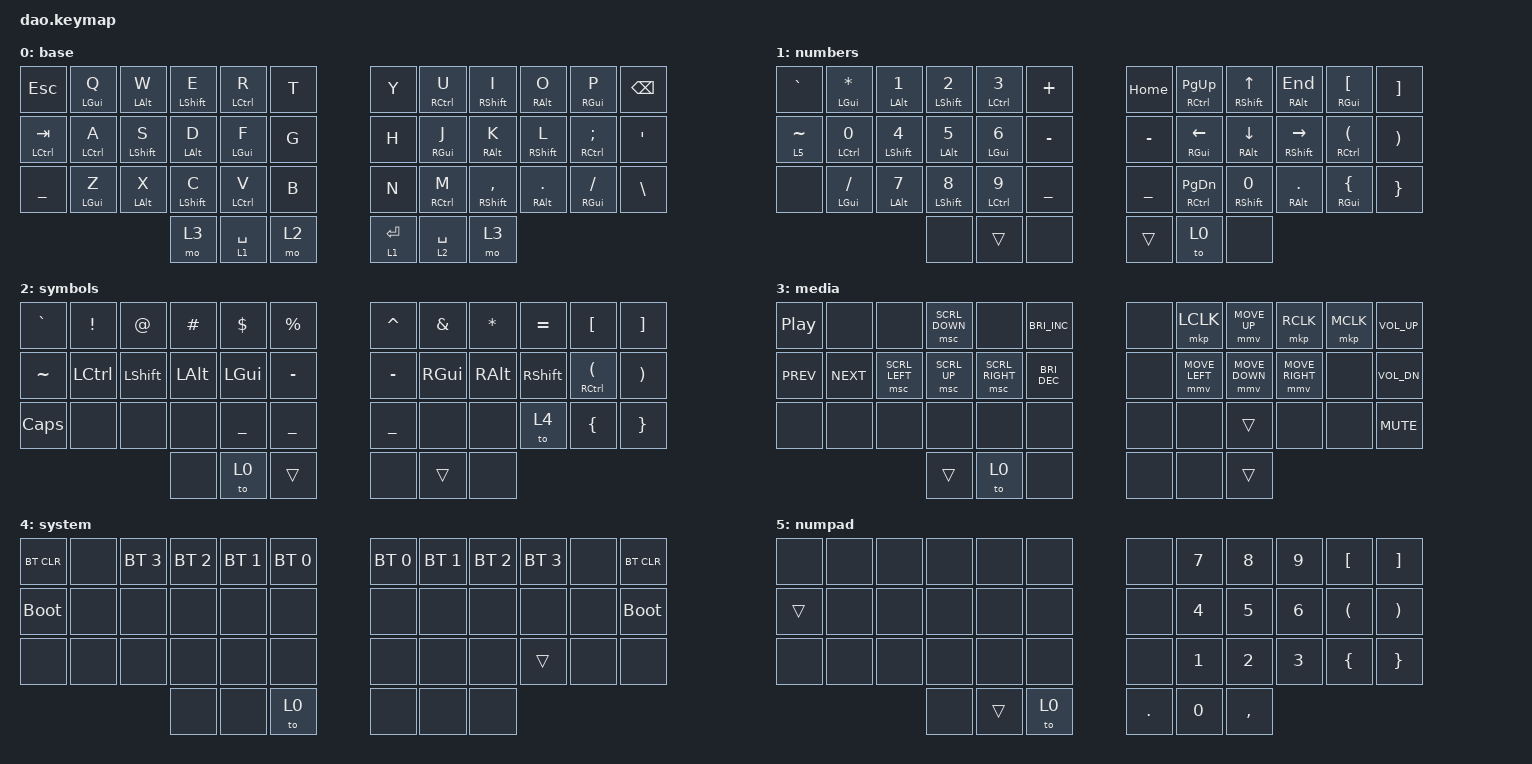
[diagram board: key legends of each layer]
/*
 * Copyright (c) 2021 Rafael Yumagulov
 *
 * SPDX-License-Identifier: MIT
 */

#define ZMK_POINTING_DEFAULT_MOVE_VAL 1200  // Default is 600
#define ZMK_POINTING_DEFAULT_SCRL_VAL 13   // Default is 10

#include <behaviors.dtsi>
#include <dt-bindings/zmk/keys.h>
#include <dt-bindings/zmk/bt.h>
#include <dt-bindings/zmk/pointing.h>

#define BASE 0
#define NUM 1
#define SYM 2
#define MEDIA 3
#define SYS 4
#define PAD 5

&lt {
  quick_tap_ms = <200>;
  tapping-term-ms = <200>;
  flavor = "balanced";
};
&mt {
  quick_tap_ms = <200>;
  tapping-term-ms = <150>;
  flavor = "balanced";
};

/ {
    chosen {
        zmk,matrix_transform = &default_transform;
        // zmk,matrix_transform = &extra_keys_transform;
    };
};

/ {
        keymap {
                compatible = "zmk,keymap";

                base {
                        bindings = <
    // | ------------- | -------------- | -------------- | -------------- | --------------- | ------------- | --- | ------------ | --------------- | --------------- | --------------- | -------------- | ------------ |
         &kp ESC         &mt LGUI Q       &mt LALT W       &mt LSHFT E      &mt LCTRL R       &kp T                 &kp Y          &mt RCTRL U       &mt RSHFT I       &mt RALT O        &mt RGUI P       &kp BSPC      
    // | ------------- | -------------- | -------------- | -------------- | --------------- | ------------- | --- | ------------ | --------------- | --------------- | --------------- | -------------- | ------------ |
         &mt LCTRL TAB   &mt LCTRL A      &mt LSHFT S      &mt LALT D       &mt LGUI F        &kp G                 &kp H          &mt RGUI J        &mt RALT K        &mt RSHFT L       &mt RCTRL SEMI   &kp APOS      
    // | ------------- | -------------- | -------------- | -------------- | --------------- | ------------- | --- | ------------ | --------------- | --------------- | --------------- | -------------- | ------------ |
         &kp UNDER       &mt LGUI Z       &mt LALT X       &mt LSHFT C      &mt LCTRL V       &kp B                 &kp N          &mt RCTRL M       &mt RSHFT COMMA   &mt RALT DOT      &mt RGUI FSLH    &kp BSLH      
    // | ------------- | -------------- | -------------- | -------------- | --------------- | ------------- | --- | ------------ | --------------- | --------------- | --------------- | -------------- | ------------ |
                                                           &mo 3            &lt 1 SPACE       &mo 2                 &lt 1 RET      &lt 2 SPACE       &mo 3                                                              
                        >;
                };
                numbers {
                        bindings = <
    // | ------------- | -------------- | -------------- | -------------- | --------------- | ------------- | --- | ------------ | --------------- | --------------- | --------------- | -------------- | ------------ |
         &kp GRAVE       &mt LGUI ASTRK   &mt LALT N1      &mt LSHFT N2     &mt LCTRL N3      &kp PLUS              &kp HOME       &mt RCTRL PG_UP   &mt RSHFT UP      &mt RALT END      &mt RGUI LBKT    &kp RBKT      
    // | ------------- | -------------- | -------------- | -------------- | --------------- | ------------- | --- | ------------ | --------------- | --------------- | --------------- | -------------- | ------------ |
         &lt 5 TILDE     &mt LCTRL N0     &mt LSHFT N4     &mt LALT N5      &mt LGUI N6       &kp MINUS             &kp MINUS      &mt RGUI LEFT     &mt RALT DOWN     &mt RSHFT RIGHT   &mt RCTRL LPAR   &kp RPAR      
    // | ------------- | -------------- | -------------- | -------------- | --------------- | ------------- | --- | ------------ | --------------- | --------------- | --------------- | -------------- | ------------ |
         &none           &mt LGUI FSLH    &mt LALT N7      &mt LSHFT N8     &mt LCTRL N9      &kp UNDER             &kp UNDER      &mt RCTRL PG_DN   &mt RSHFT N0      &mt RALT DOT      &mt RGUI LBRC    &kp RBRC      
    // | ------------- | -------------- | -------------- | -------------- | --------------- | ------------- | --- | ------------ | --------------- | --------------- | --------------- | -------------- | ------------ |
                                                               &none            &trans            &none                 &trans         &to 0             &none                                                              
                        >;
                };

                symbols {
                        bindings = <
    //|----------------|--------------|----------------|----------------|-----------------|---------------|---|--------------|----------------|----------------|-----------------|----------------|--------------|
        &kp GRAVE        &kp EXCL       &kp AT           &kp HASH         &kp DOLLAR        &kp PERCENT         &kp CARET      &kp AMPS         &kp ASTRK        &kp EQUAL         &kp LBKT         &kp RBKT      
    //|----------------|--------------|----------------|----------------|-----------------|---------------|---|--------------|----------------|----------------|-----------------|----------------|--------------|
        &kp TILDE        &kp LCTRL      &kp LSHFT        &kp LALT         &kp LGUI          &kp MINUS           &kp MINUS      &kp RGUI         &kp RALT         &kp RSHFT         &mt RCTRL LPAR   &kp RPAR      
    //|----------------|--------------|----------------|----------------|-----------------|---------------|---|--------------|----------------|----------------|-----------------|----------------|--------------|
        &kp CAPS         &none          &none            &none            &kp UNDER         &kp UNDER           &kp UNDER      &none            &none            &to 4             &kp LBRC         &kp RBRC      
    //|----------------|--------------|----------------|----------------|-----------------|---------------|---|--------------|----------------|----------------|-----------------|----------------|--------------|
                                                         &none            &to 0             &trans              &none          &trans           &none                                                             
                        >;
                };

                media {
                        bindings = <
    //|----------------|--------------|----------------|----------------|-----------------|---------------|---|--------------|----------------|----------------|-----------------|----------------|--------------|
        &kp C_PP         &none          &none            &msc SCRL_DOWN   &none             &kp C_BRI_INC       &none          &mkp LCLK        &mmv MOVE_UP     &mkp RCLK         &mkp MCLK        &kp C_VOL_UP
    //|----------------|--------------|----------------|----------------|-----------------|---------------|---|--------------|----------------|----------------|-----------------|----------------|--------------|
        &kp C_PREV       &kp C_NEXT     &msc SCRL_LEFT   &msc SCRL_UP     &msc SCRL_RIGHT   &kp C_BRI_DEC       &none          &mmv MOVE_LEFT   &mmv MOVE_DOWN   &mmv MOVE_RIGHT   &none            &kp C_VOL_DN  
    //|----------------|--------------|----------------|----------------|-----------------|---------------|---|--------------|----------------|----------------|-----------------|----------------|--------------|
        &none            &none          &none            &none            &none             &none               &none          &none            &trans           &none             &none            &kp C_MUTE    
    //|----------------|--------------|----------------|----------------|-----------------|---------------|---|--------------|----------------|----------------|-----------------|----------------|--------------|
                                                         &trans           &to 0             &none               &none          &none            &trans                                                            
                        >;
                };
               system {
                       bindings = <
    //|----------------|--------------|----------------|----------------|-----------------|---------------|---|--------------|----------------|----------------|-----------------|----------------|--------------|
        &bt BT_CLR       &none          &bt BT_SEL 3     &bt BT_SEL 2     &bt BT_SEL 1      &bt BT_SEL 0        &bt BT_SEL 0   &bt BT_SEL 1     &bt BT_SEL 2     &bt BT_SEL 3      &none            &bt BT_CLR    
    //|----------------|--------------|----------------|----------------|-----------------|---------------|---|--------------|----------------|----------------|-----------------|----------------|--------------|
        &bootloader      &none          &none            &none            &none             &none               &none          &none            &none            &none             &none            &bootloader   
    //|----------------|--------------|----------------|----------------|-----------------|---------------|---|--------------|----------------|----------------|-----------------|----------------|--------------|
        &none            &none          &none            &none            &none             &none               &none          &none            &none            &trans            &none            &none         
    //|----------------|--------------|----------------|----------------|-----------------|---------------|---|--------------|----------------|----------------|-----------------|----------------|--------------|
                                                         &none            &none             &to 0               &none          &none            &none                                                             
                       >;
               };
               numpad {
                       bindings = <
    //|----------------|--------------|----------------|----------------|-----------------|---------------|---|--------------|----------------|----------------|-----------------|----------------|--------------|
        &none            &none          &none            &none            &none             &none               &none          &kp N7           &kp N8           &kp N9            &kp LBKT         &kp RBKT      
    //|----------------|--------------|----------------|----------------|-----------------|---------------|---|--------------|----------------|----------------|-----------------|----------------|--------------|
        &trans           &none          &none            &none            &none             &none               &none          &kp N4           &kp N5           &kp N6            &kp LPRN         &kp RPAR      
    //|----------------|--------------|----------------|----------------|-----------------|---------------|---|--------------|----------------|----------------|-----------------|----------------|--------------|
        &none            &none          &none            &none            &none             &none               &none          &kp N1           &kp N2           &kp N3            &kp LBRC         &kp RBRC      
    //|----------------|--------------|----------------|----------------|-----------------|---------------|---|--------------|----------------|----------------|-----------------|----------------|--------------|
                                                         &none            &trans            &to 0               &kp DOT        &kp N0           &kp COMMA                                                         
                       >;
               };
        };
};
